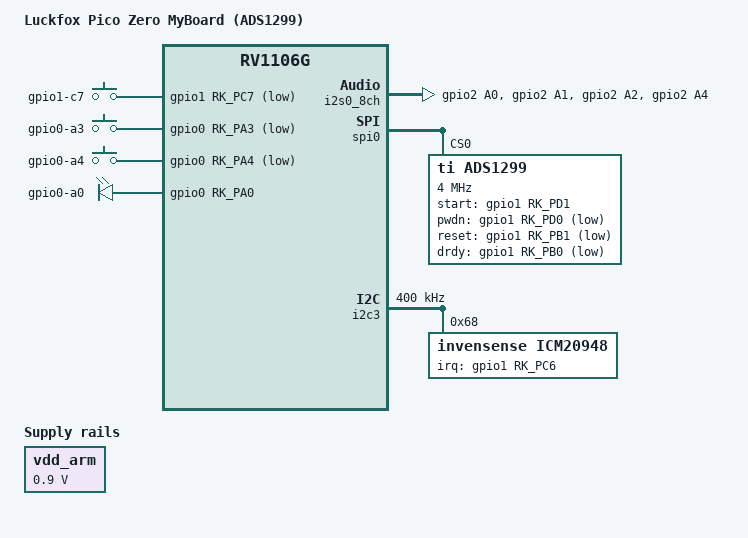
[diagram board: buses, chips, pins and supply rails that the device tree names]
// SPDX-License-Identifier: (GPL-2.0+ OR MIT)
#include "rv1106g-luckfox-pico-zero.dts"

/ {
	model = "Luckfox Pico Zero MyBoard (ADS1299)";

	pcm5102a: pcm5102a {
		compatible = "ti,pcm5102a";
		#sound-dai-cells = <0>;
	};

	pcm5102a_sound: pcm5102a-sound {
		compatible = "simple-audio-card";
		simple-audio-card,name = "pcm5102a";
		simple-audio-card,format = "i2s";
		simple-audio-card,mclk-fs = <256>;
		simple-audio-card,bitclock-master = <&pcm5102a_cpu>;
		simple-audio-card,frame-master = <&pcm5102a_cpu>;
		pcm5102a_cpu: simple-audio-card,cpu {
			sound-dai = <&i2s0_8ch>;
		};
		simple-audio-card,codec {
			sound-dai = <&pcm5102a>;
		};
	};

	gpio-keys {
		compatible = "gpio-keys";
		pinctrl-names = "default";
		pinctrl-0 = <&keys_pins>;

		key-gpio1-c7 {
			label = "gpio1-c7";
			gpios = <&gpio1 RK_PC7 GPIO_ACTIVE_LOW>;
			linux,code = <KEY_1>;
			debounce-interval = <20>;
		};

		key-gpio0-a3 {
			label = "gpio0-a3";
			gpios = <&gpio0 RK_PA3 GPIO_ACTIVE_LOW>;
			linux,code = <KEY_2>;
			debounce-interval = <20>;
		};

		key-gpio0-a4 {
			label = "gpio0-a4";
			gpios = <&gpio0 RK_PA4 GPIO_ACTIVE_LOW>;
			linux,code = <KEY_3>;
			debounce-interval = <20>;
		};
	};
};

/* The schematic connects VDD_ARM to the fixed VDD_0V9 rail through R70. */
&vdd_arm {
	regulator-min-microvolt = <900000>;
	regulator-max-microvolt = <900000>;
};

/* GPIO2_A0/A1/A2/A4 are shared with the SD card's SDMMC1 M0 pins. */
&sdio {
	status = "disabled";
};

&acodec_sound {
	status = "disabled";
};

&acodec {
	status = "disabled";
};

&i2s0_8ch {
	pinctrl-names = "default";
	pinctrl-0 = <&pcm5102a_i2s0_pins>;
	rockchip,playback-only;
	status = "okay";
};

/* Keep automatic scaling within the board's existing 1.104 GHz ceiling. */
&cpu0_opp_table {
	/delete-node/ opp-1200000000;
	/delete-node/ opp-1296000000;
	/delete-node/ opp-1416000000;
	/delete-node/ opp-1512000000;
	/delete-node/ opp-1608000000;
};

&leds {
	pinctrl-names = "default";
	pinctrl-0 = <&led_gpio0_a0>;

	led-gpio0-a0 {
		label = "gpio0-a0";
		gpios = <&gpio0 RK_PA0 GPIO_ACTIVE_HIGH>;
		default-state = "off";
	};
};

&spi0 {
	status = "okay";
	pinctrl-names = "default";
	pinctrl-0 = <&spi0m0_clk &spi0m0_mosi &spi0m0_miso &spi0m0_cs0>;
	/delete-node/ spidev@0;

	ads1299: adc@0 {
		compatible = "ti,ads1299";
		reg = <0>;
		spi-max-frequency = <4000000>;
		spi-cpha;
		pinctrl-names = "default";
		pinctrl-0 = <&ads1299_control &ads1299_drdy>;
		start-gpios = <&gpio1 RK_PD1 GPIO_ACTIVE_HIGH>;
		pwdn-gpios = <&gpio1 RK_PD0 GPIO_ACTIVE_LOW>;
		reset-gpios = <&gpio1 RK_PB1 GPIO_ACTIVE_LOW>;
		drdy-gpios = <&gpio1 RK_PB0 GPIO_ACTIVE_LOW>;
	};
};

&i2c3 {
	status = "okay";
	clock-frequency = <400000>;
	pinctrl-names = "default";
	pinctrl-0 = <&i2c3m0_xfer>;

	icm20948: imu@68 {
		compatible = "invensense,icm20948";
		reg = <0x68>;
		pinctrl-names = "default";
		pinctrl-0 = <&icm20948_int>;
		interrupt-parent = <&gpio1>;
		interrupts = <RK_PC6 IRQ_TYPE_EDGE_FALLING>;
	};
};

&pinctrl {
	i2s0 {
		pcm5102a_i2s0_pins: pcm5102a-i2s0-pins {
			rockchip,pins = <2 RK_PA0 2 &pcfg_pull_none>, /* BCK */
					<2 RK_PA1 2 &pcfg_pull_none>, /* LRCK */
					<2 RK_PA2 2 &pcfg_pull_none>, /* SCK */
					<2 RK_PA4 2 &pcfg_pull_none>; /* DIN */
		};
	};

	keys {
		keys_pins: keys-pins {
			rockchip,pins = <1 RK_PC7 RK_FUNC_GPIO &pcfg_pull_up>,
				       <0 RK_PA3 RK_FUNC_GPIO &pcfg_pull_up>,
				       <0 RK_PA4 RK_FUNC_GPIO &pcfg_pull_up>;
		};
	};

	leds {
		led_gpio0_a0: led-gpio0-a0 {
			rockchip,pins = <0 RK_PA0 RK_FUNC_GPIO &pcfg_pull_none>;
		};
	};

	ads1299 {
		ads1299_control: ads1299-control {
			rockchip,pins = <1 RK_PD1 RK_FUNC_GPIO &pcfg_pull_none>,
				       <1 RK_PD0 RK_FUNC_GPIO &pcfg_pull_none>,
				       <1 RK_PB1 RK_FUNC_GPIO &pcfg_pull_none>;
		};
		ads1299_drdy: ads1299-drdy {
			rockchip,pins = <1 RK_PB0 RK_FUNC_GPIO &pcfg_pull_up>;
		};
	};

	icm20948 {
		icm20948_int: icm20948-int {
			rockchip,pins = <1 RK_PC6 RK_FUNC_GPIO &pcfg_pull_up>;
		};
	};
};
